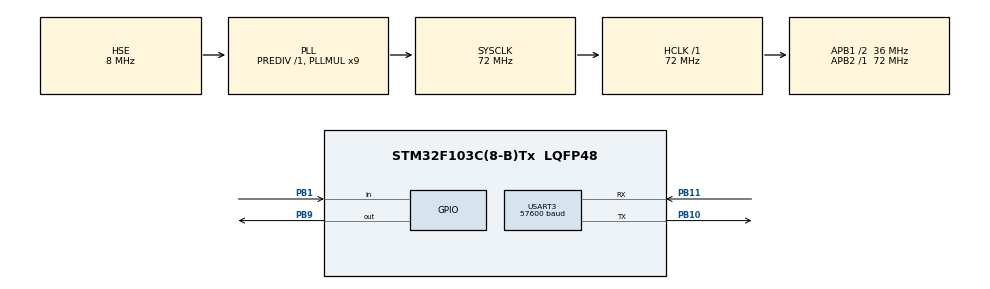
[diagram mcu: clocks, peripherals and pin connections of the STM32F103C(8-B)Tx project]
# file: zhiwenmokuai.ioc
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Dma.Request0=USART3_RX
Dma.USART3_RX.0.Direction=DMA_PERIPH_TO_MEMORY
Dma.USART3_RX.0.Instance=DMA1_Channel3
Dma.USART3_RX.0.MemDataAlignment=DMA_MDATAALIGN_BYTE
Dma.USART3_RX.0.MemInc=DMA_MINC_ENABLE
Dma.USART3_RX.0.Mode=DMA_NORMAL
Dma.USART3_RX.0.PeriphDataAlignment=DMA_PDATAALIGN_BYTE
Dma.USART3_RX.0.PeriphInc=DMA_PINC_DISABLE
Dma.USART3_RX.0.Priority=DMA_PRIORITY_VERY_HIGH
Mcu.Family=STM32F1
Mcu.Name=STM32F103C(8-B)Tx
Mcu.Package=LQFP48
NVIC.DMA1_Channel3_IRQn=true\:0\:0\:false\:false\:true\:false
NVIC.PriorityGroup=NVIC_PRIORITYGROUP_4
NVIC.USART3_IRQn=true\:0\:0\:false\:false\:true\:true
PA13.Mode=Serial_Wire
PA13.Signal=SYS_JTMS-SWDIO
PA14.Mode=Serial_Wire
PA14.Signal=SYS_JTCK-SWCLK
PB1.GPIO_PuPd=GPIO_PULLDOWN
PB1.Signal=GPIO_Input
PB10.Mode=Asynchronous
PB10.Signal=USART3_TX
PB11.Mode=Asynchronous
PB11.Signal=USART3_RX
PB9.Signal=GPIO_Output
PD0-OSC_IN.Mode=HSE-External-Oscillator
PD0-OSC_IN.Signal=RCC_OSC_IN
PD1-OSC_OUT.Mode=HSE-External-Oscillator
PD1-OSC_OUT.Signal=RCC_OSC_OUT
ProjectManager.HeapSize=0x200
ProjectManager.StackSize=0x400
ProjectManager.TargetToolchain=EWARM V7
RCC.AHBFreq_Value=72000000
RCC.APB1CLKDivider=RCC_HCLK_DIV2
RCC.APB1Freq_Value=36000000
RCC.APB1TimFreq_Value=72000000
RCC.APB2Freq_Value=72000000
RCC.APB2TimFreq_Value=72000000
RCC.HCLKFreq_Value=72000000
RCC.PLLMUL=RCC_PLL_MUL9
RCC.PLLSourceVirtual=RCC_PLLSOURCE_HSE
RCC.SYSCLKFreq_VALUE=72000000
RCC.SYSCLKSource=RCC_SYSCLKSOURCE_PLLCLK
RCC.USBFreq_Value=72000000
USART3.BaudRate=57600
USART3.VirtualMode=VM_ASYNC
board=custom

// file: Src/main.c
/**
  ******************************************************************************
  * @file           : main.c
  * @brief          : Main program body
  ******************************************************************************
  ** This notice applies to any and all portions of this file
  * that are not between comment pairs USER CODE BEGIN and
  * USER CODE END. Other portions of this file, whether
  * inserted by the user or by software development tools
  * are owned by their respective copyright owners.
  *
  * COPYRIGHT(c) 2019 STMicroelectronics
  *
  * Redistribution and use in source and binary forms, with or without modification,
  * are permitted provided that the following conditions are met:
  *   1. Redistributions of source code must retain the above copyright notice,
  *      this list of conditions and the following disclaimer.
  *   2. Redistributions in binary form must reproduce the above copyright notice,
  *      this list of conditions and the following disclaimer in the documentation
  *      and/or other materials provided with the distribution.
  *   3. Neither the name of STMicroelectronics nor the names of its contributors
  *      may be used to endorse or promote products derived from this software
  *      without specific prior written permission.
  *
  * THIS SOFTWARE IS PROVIDED BY THE COPYRIGHT HOLDERS AND CONTRIBUTORS "AS IS"
  * AND ANY EXPRESS OR IMPLIED WARRANTIES, INCLUDING, BUT NOT LIMITED TO, THE
  * IMPLIED WARRANTIES OF MERCHANTABILITY AND FITNESS FOR A PARTICULAR PURPOSE ARE
  * DISCLAIMED. IN NO EVENT SHALL THE COPYRIGHT HOLDER OR CONTRIBUTORS BE LIABLE
  * FOR ANY DIRECT, INDIRECT, INCIDENTAL, SPECIAL, EXEMPLARY, OR CONSEQUENTIAL
  * DAMAGES (INCLUDING, BUT NOT LIMITED TO, PROCUREMENT OF SUBSTITUTE GOODS OR
  * SERVICES; LOSS OF USE, DATA, OR PROFITS; OR BUSINESS INTERRUPTION) HOWEVER
  * CAUSED AND ON ANY THEORY OF LIABILITY, WHETHER IN CONTRACT, STRICT LIABILITY,
  * OR TORT (INCLUDING NEGLIGENCE OR OTHERWISE) ARISING IN ANY WAY OUT OF THE USE
  * OF THIS SOFTWARE, EVEN IF ADVISED OF THE POSSIBILITY OF SUCH DAMAGE.
  *
  ******************************************************************************
  */
#include "main.h"
#include "stm32f1xx_hal.h"
#include "dma.h"
#include "usart.h"
#include "gpio.h"

/* USER CODE BEGIN Includes */
#define CharBuffer1 0x01
#define CharBuffer2 0x02
/* USER CODE END Includes */

/* USER CODE BEGIN PV */
/* Private variables ---------------------------------------------------------*/

/* USER CODE END PV */

void SystemClock_Config(void);

/* USER CODE BEGIN PFP */
/* Private function prototypes -----------------------------------------------*/

/* USER CODE END PFP */

/* USER CODE BEGIN 0 */
typedef struct
{
	uint16_t PS_max;//指纹最大容量
	uint8_t  PS_level;//安全等级
	uint32_t PS_addr;
	uint8_t  PS_size;//通讯数据包大小
	uint8_t  PS_N;//波特率基数N
}SysPara;
  uint8_t data[100];
  uint8_t check[]={0XEF,0X01,0XFF,0XFF,0XFF,0XFF,0X01,0X00,0X00};
  uint8_t PS_GetImage_buf[]={0XEF,0X01,0XFF,0XFF,0XFF,0XFF,0X01,0X00,0X03,0X01,0X00,0X05};
  uint8_t PS_GenChar_buf[]={0XEF,0X01,0XFF,0XFF,0XFF,0XFF,0X01,0X00,0X04,0X02,0X01,0X00,0X08};
  uint8_t PS_Match_buf[] = {0XEF,0X01,0XFF,0XFF,0XFF,0XFF,0X01,0X00,0X03,0X03,0X00,0X07};
  uint8_t PS_RegModel_buf[] ={0XEF,0X01,0XFF,0XFF,0XFF,0XFF,0X01,0X00,0X03,0X05,0X00,0X09};
  uint8_t PS_StoreChar_buf[]={0XEF,0X01,0XFF,0XFF,0XFF,0XFF,0X01,0X00,0X06,0X06,0X01,0X00,0X00,0X00,0X0E};
  uint8_t PS_HighSpeedSearch_buf[]={0XEF,0X01,0XFF,0XFF,0XFF,0XFF,0X01,0X00,0X08,0X1B,0X01,0X00,0X00,0X01,0X00,0X26};
  uint8_t PS_ReadSysPara_buf[]={0XEF,0X01,0XFF,0XFF,0XFF,0XFF,0X01,0X00,0X03,0X0F,0X00,0X13};
  uint8_t PS_ValidTempleteNum_buf[]={0XEF,0X01,0XFF,0XFF,0XFF,0XFF,0X01,0X00,0X03,0X1D,0X00,0X21};
  void Add_FR(void);
  void press_FR(void);
  uint8_t PS_ReadSysPara(SysPara *p);
  uint8_t PS_ValidTempleteNum(uint16_t *ValidN);
/* USER CODE END 0 */

int main(void)
{

  /* MCU Configuration----------------------------------------------------------*/

  /* Reset of all peripherals, Initializes the Flash interface and the Systick. */
  HAL_Init();

  /* Configure the system clock */
  SystemClock_Config();

  /* Initialize all configured peripherals */
  MX_GPIO_Init();
  MX_DMA_Init();
  MX_USART3_UART_Init();
  /* USER CODE BEGIN 2 */

  HAL_UART_Receive_DMA(&huart3, data, RECEIVELEN);//开启串口3DMA接收
  __HAL_UART_ENABLE_IT(&huart3, UART_IT_IDLE);
  while(UART3_TYPE.receive_flag == 0)
  {
    HAL_UART_Transmit(&huart3,check,9,0xffff);
    HAL_Delay(5);
  }
  UART3_TYPE.receive_flag=  0;
  SysPara p;
  uint16_t num;
  HAL_GPIO_WritePin(GPIOB, GPIO_PIN_9, GPIO_PIN_SET);
  HAL_Delay(1000);
  HAL_GPIO_WritePin(GPIOB, GPIO_PIN_9, GPIO_PIN_RESET);
  /* USER CODE END 2 */

  /* Infinite loop */
  /* USER CODE BEGIN WHILE */
  while (1)
  {
   PS_ValidTempleteNum(&num);
   //PS_ReadSysPara(&p);
// while(UART3_TYPE.usartDMA_rxBuf[9] != 0X00 &&UART3_TYPE.usartDMA_rxBuf[11] != 0X0A)
// {
//   HAL_UART_Transmit(&huart3,PS_GetImage_buf,12,0xffff);
//   HAL_Delay(5);
// }
 // HAL_UART_Transmit(&huart3,PS_GenChar_1,13,0xffff);
 // if(UART3_TYPE.usartDMA_rxBuf[9] == 0X00 &&UART3_TYPE.usartDMA_rxBuf[11] == 0X0A){}
 // Add_FR();
  //  press_FR();
  /* USER CODE END WHILE */

  }

}

void SystemClock_Config(void)
{

  RCC_OscInitTypeDef RCC_OscInitStruct;
  RCC_ClkInitTypeDef RCC_ClkInitStruct;

    /**Initializes the CPU, AHB and APB busses clocks
    */
  RCC_OscInitStruct.OscillatorType = RCC_OSCILLATORTYPE_HSE;
  RCC_OscInitStruct.HSEState = RCC_HSE_ON;
  RCC_OscInitStruct.HSEPredivValue = RCC_HSE_PREDIV_DIV1;
  RCC_OscInitStruct.HSIState = RCC_HSI_ON;
  RCC_OscInitStruct.PLL.PLLState = RCC_PLL_ON;
  RCC_OscInitStruct.PLL.PLLSource = RCC_PLLSOURCE_HSE;
  RCC_OscInitStruct.PLL.PLLMUL = RCC_PLL_MUL9;
  if (HAL_RCC_OscConfig(&RCC_OscInitStruct) != HAL_OK)
  {
    _Error_Handler(__FILE__, __LINE__);
  }

    /**Initializes the CPU, AHB and APB busses clocks
    */
  RCC_ClkInitStruct.ClockType = RCC_CLOCKTYPE_HCLK|RCC_CLOCKTYPE_SYSCLK
                              |RCC_CLOCKTYPE_PCLK1|RCC_CLOCKTYPE_PCLK2;
  RCC_ClkInitStruct.SYSCLKSource = RCC_SYSCLKSOURCE_PLLCLK;
  RCC_ClkInitStruct.AHBCLKDivider = RCC_SYSCLK_DIV1;
  RCC_ClkInitStruct.APB1CLKDivider = RCC_HCLK_DIV2;
  RCC_ClkInitStruct.APB2CLKDivider = RCC_HCLK_DIV1;

  if (HAL_RCC_ClockConfig(&RCC_ClkInitStruct, FLASH_LATENCY_2) != HAL_OK)
  {
    _Error_Handler(__FILE__, __LINE__);
  }

    /**Configure the Systick interrupt time
    */
  HAL_SYSTICK_Config(HAL_RCC_GetHCLKFreq()/1000);

    /**Configure the Systick
    */
  HAL_SYSTICK_CLKSourceConfig(SYSTICK_CLKSOURCE_HCLK);

  /* SysTick_IRQn interrupt configuration */
  HAL_NVIC_SetPriority(SysTick_IRQn, 0, 0);
}

/* USER CODE BEGIN 4 */
void UsartReceive_IDLE(UART_HandleTypeDef *huart)
{
    uint32_t temp;

    if((__HAL_UART_GET_FLAG(huart,UART_FLAG_IDLE) != RESET))
    {
        __HAL_UART_CLEAR_IDLEFLAG(huart);
        temp = huart->hdmarx->Instance->CNDTR;
        HAL_UART_DMAStop(huart);
        if(huart->Instance == USART3)
	{
            UART3_TYPE.rx_len =  RECEIVELEN - temp;
            UART3_TYPE.receive_flag=  1;
            HAL_UART_Receive_DMA(&huart3,UART3_TYPE.usartDMA_rxBuf,RECEIVELEN);
	}

    }
}
//显示确认码错误信息
void ShowErrMessage(uint8_t ensure)
{
	//LCD_Fill(0,120,lcddev.width,160,WHITE);
	//Show_Str_Mid(0,120,(uint8_t*)EnsureMessage(ensure),16,240);
}
//录入图像 PS_GetImage
//功能:探测手指，探测到后录入指纹图像存于ImageBuffer。
//模块返回确认字
uint8_t PS_GetImage(void)
{
  uint8_t  ensure;
  HAL_UART_Transmit(&huart3,PS_GetImage_buf,12,0xffff);
 // HAL_Delay(1);
//	if(UART3_TYPE.receive_flag ==  1 )
//        {
//		ensure=UART3_TYPE.usartDMA_rxBuf[9];
//                UART3_TYPE.receive_flag=  0;
//        }
//	else
//		ensure=0xff;
       while(UART3_TYPE.receive_flag !=  1 );
       // {
		ensure=UART3_TYPE.usartDMA_rxBuf[9];
                UART3_TYPE.receive_flag=  0;
        //}
	//else
	//	ensure=0xff;
	return ensure;
}
//生成特征 PS_GenChar
//功能:将ImageBuffer中的原始图像生成指纹特征文件存于CharBuffer1或CharBuffer2
//参数:BufferID --> charBuffer1:0x01	charBuffer1:0x02
//模块返回确认字
uint8_t PS_GenChar(uint8_t BufferID)
{
        uint8_t  ensure;
        if(BufferID == 0X01)
        {
          PS_GenChar_buf[10] = 0X01;
          PS_GenChar_buf[12]= 0X08;
          HAL_UART_Transmit(&huart3,PS_GenChar_buf,13,0xffff);
        //    HAL_Delay(200);
        }
        else {
          PS_GenChar_buf[10] = 0X02;
          PS_GenChar_buf[12]= 0X09;
          HAL_UART_Transmit(&huart3,PS_GenChar_buf,13,0xffff);
       //     HAL_Delay(200);
        }
//	if(UART3_TYPE.receive_flag ==  1 )
//        {
//		ensure=UART3_TYPE.usartDMA_rxBuf[9];
//                UART3_TYPE.receive_flag=  0;
//        }
//	else
//		ensure=0xff;
         while(UART3_TYPE.receive_flag !=  1 );
       		ensure=UART3_TYPE.usartDMA_rxBuf[9];
               UART3_TYPE.receive_flag=  0;
	return ensure;
}
//精确比对两枚指纹特征 PS_Match
//功能:精确比对CharBuffer1 与CharBuffer2 中的特征文件
//模块返回确认字
uint8_t PS_Match(void)
{
        uint8_t  ensure;
        HAL_UART_Transmit(&huart3,PS_Match_buf,12,0xffff);
          HAL_Delay(200);
	if(UART3_TYPE.receive_flag ==  1)
        {
		ensure=UART3_TYPE.usartDMA_rxBuf[9];
                UART3_TYPE.receive_flag=  0;
        }
	else
		ensure=0xff;
	return ensure;
}
//合并特征（生成模板）PS_RegModel
//功能:将CharBuffer1与CharBuffer2中的特征文件合并生成 模板,结果存于CharBuffer1与CharBuffer2
//说明:  模块返回确认字
uint8_t PS_RegModel(void)
{
        uint8_t  ensure;
	HAL_UART_Transmit(&huart3,PS_RegModel_buf,12,0xffff);
        HAL_Delay(200);
	if(UART3_TYPE.receive_flag ==  1)
        {
		ensure=UART3_TYPE.usartDMA_rxBuf[9];
                UART3_TYPE.receive_flag=  0;
        }
	else
		ensure=0xff;
	return ensure;
}
//储存模板 PS_StoreChar
//功能:将 CharBuffer1 或 CharBuffer2 中的模板文件存到 PageID 号flash数据库位置。
//参数:  BufferID @ref charBuffer1:0x01	charBuffer1:0x02
//       PageID（指纹库位置号）
//说明:  模块返回确认字
//uint8_t PS_StoreChar(uint8_t BufferID,uint16_t PageID)
uint8_t PS_StoreChar(void)
{
        uint8_t  ensure;
	HAL_UART_Transmit(&huart3,PS_StoreChar_buf,15,0xffff);
        HAL_Delay(200);
	if(UART3_TYPE.receive_flag ==  1)
        {
		ensure=UART3_TYPE.usartDMA_rxBuf[9];
                UART3_TYPE.receive_flag=  0;
        }
	else
		ensure=0xff;
	return ensure;
}
//读系统基本参数 PS_ReadSysPara
//功能:  读取模块的基本参数（波特率，包大小等)
//参数:  无
//说明:  模块返回确认字 + 基本参数（16bytes）
uint8_t PS_ReadSysPara(SysPara *p)
{
         uint8_t  ensure;
        HAL_UART_Transmit(&huart3,PS_ReadSysPara_buf,12,0xffff);
        HAL_Delay(200);
	if(UART3_TYPE.receive_flag ==  1)
	{
		ensure = UART3_TYPE.usartDMA_rxBuf[9];
		p->PS_max = (UART3_TYPE.usartDMA_rxBuf[14]<<8)+UART3_TYPE.usartDMA_rxBuf[15];
		p->PS_level = data[17];
		p->PS_addr=(UART3_TYPE.usartDMA_rxBuf[18]<<24)+(UART3_TYPE.usartDMA_rxBuf[19]<<16)+(UART3_TYPE.usartDMA_rxBuf[20]<<8)+UART3_TYPE.usartDMA_rxBuf[21];
		p->PS_size = UART3_TYPE.usartDMA_rxBuf[23];
		p->PS_N = UART3_TYPE.usartDMA_rxBuf[25];
                UART3_TYPE.receive_flag=  0;
	}
	else
		ensure=0xff;
	if(ensure==0x00)
	{
		printf("\r\n模块最大指纹容量=%d",p->PS_max);
		printf("\r\n对比等级=%d",p->PS_level);
		printf("\r\n地址=%x",p->PS_addr);
		printf("\r\n波特率=%d",p->PS_N*9600);
	}
//	else
	//		printf("\r\n%s",EnsureMessage(ensure));
	return ensure;
}
//高速搜索PS_HighSpeedSearch
//功能：以 CharBuffer1或CharBuffer2中的特征文件高速搜索整个或部分指纹库。
//		  若搜索到，则返回页码,该指令对于的确存在于指纹库中 ，且登录时质量
//		  很好的指纹，会很快给出搜索结果。
//参数:  BufferID， StartPage(起始页)，PageNum（页数）
//说明:  模块返回确认字+页码（相配指纹模板）
//uint8_t PS_HighSpeedSearch(uint8_t BufferID,u16 StartPage,u16 PageNum,SearchResult *p)
uint8_t PS_HighSpeedSearch(void)
{
  uint8_t  ensure;
	HAL_UART_Transmit(&huart3,PS_HighSpeedSearch_buf,16,0xffff);
        HAL_Delay(500);
	if(UART3_TYPE.receive_flag ==  1)
        {
		ensure=UART3_TYPE.usartDMA_rxBuf[9];
                UART3_TYPE.receive_flag=  0;
        }
	else
		ensure=0xff;
	return ensure;
}
//读有效模板个数 PS_ValidTempleteNum
//功能：读有效模板个数
//参数: 无
//说明: 模块返回确认字+有效模板个数ValidN
uint8_t PS_ValidTempleteNum(uint16_t *ValidN)
{
        uint8_t  ensure;
        HAL_UART_Transmit(&huart3,PS_ValidTempleteNum_buf,12,0xffff);
        HAL_Delay(200);
	if(UART3_TYPE.receive_flag ==  1)
	{
		ensure=UART3_TYPE.usartDMA_rxBuf[9];
		*ValidN = (UART3_TYPE.usartDMA_rxBuf[10]) +UART3_TYPE.usartDMA_rxBuf[11];
	}
	else
		ensure=0xff;

	if(ensure==0x00)
	{
		printf("\r\n有效指纹个数=%d",(UART3_TYPE.usartDMA_rxBuf[10])+UART3_TYPE.usartDMA_rxBuf[11]);
	}
//	else
//		printf("\r\n%s",EnsureMessage(ensure));
	return ensure;
}
//刷指纹
void press_FR(void)
{
	//SearchResult seach;
	uint8_t ensure;
	//char *str;
	ensure=PS_GetImage();
	if(ensure==0x00)//获取图像成功
	{
		ensure=PS_GenChar(0X01);
		if(ensure==0x00) //生成特征成功
		{

			ensure=PS_HighSpeedSearch();
			if(ensure==0x00)//搜索成功
			{

                           printf("1");
			}
			else
				ShowErrMessage(ensure);
	  }
		else
			ShowErrMessage(ensure);
	}

}
void Add_FR(void)
{
	uint8_t i,ensure ,processnum=0;
	//u16 ID;
	while(1)
	{
		switch (processnum)
		{
			case 0:
				i++;
				ensure=PS_GetImage();
				if(ensure==0x00)
				{
					ensure=PS_GenChar(0X01);//生成特征
					if(ensure==0x00)
					{
						i=0;
						processnum=1;//跳到第二步
					}else ShowErrMessage(ensure);
				}else ShowErrMessage(ensure);
				break;

			case 1:
				i++;
				ensure=PS_GetImage();
				if(ensure==0x00)
				{
					ensure=PS_GenChar(0X02);//生成特征
					if(ensure==0x00)
					{

						i=0;
						processnum=2;//跳到第三步
					}else ShowErrMessage(ensure);
				}else ShowErrMessage(ensure);
				break;

			case 2:
          //                PS_RegModel();
          //                PS_StoreChar();
				ensure=PS_Match();
				if(ensure==0x00)
				{
					processnum=3;//跳到第四步
				}
				else
				{
					ShowErrMessage(ensure);
					i=0;
					processnum=0;//跳回第一步
				}
				HAL_Delay(1200);
				break;
                }
        }
}

/* USER CODE END 4 */

void _Error_Handler(char *file, int line)
{
  while(1)
  {
  }
}

/************************ (C) COPYRIGHT STMicroelectronics *****END OF FILE****/
